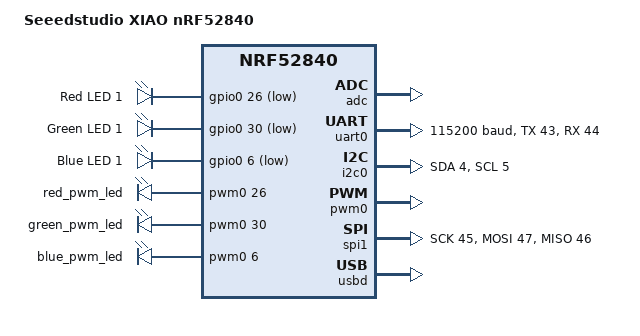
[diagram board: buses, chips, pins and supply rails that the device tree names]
/dts-v1/;
#include <nordic/nrf52840_qiaa.dtsi>

/ {
	model = "Seeedstudio XIAO nRF52840";
	compatible = "nordic,seeeduino-xiao-nrf52840";

	chosen {
		zephyr,sram = &sram0;
		zephyr,flash = &flash0;
		zephyr,code-partition = &slot0_partition;
	};

	leds {
		compatible = "gpio-leds";
		led0_red: led_0 {
			gpios = <&gpio0 26 GPIO_ACTIVE_LOW>;
			label = "Red LED 1";
		};
		led0_green: led_1 {
			gpios = <&gpio0 30 GPIO_ACTIVE_LOW>;
			label = "Green LED 1";
		};
		led0_blue: led_2 {
			gpios = <&gpio0 6 GPIO_ACTIVE_LOW>;
			label = "Blue LED 1";
		};
	};

	pwmleds {
		compatible = "pwm-leds";
		red_pwm_led: pwm_led_0 {
			pwms = <&pwm0 26>;
		};
		green_pwm_led: pwm_led_1 {
			pwms = <&pwm0 30>;
		};
		blue_pwm_led: pwm_led_2 {
			pwms = <&pwm0 6>;
		};
	};

	/* These aliases are provided for compatibility with samples */
	aliases {
		led0 = &led0_red;
		led2 = &led0_green;
		led3 = &led0_blue;
		led0-red   = &led0_red;
		led0-green = &led0_green;
		led0-blue  = &led0_blue;
		pwm-led0 = &red_pwm_led;
		pwm-led1 = &green_pwm_led;
		pwm-led2 = &blue_pwm_led;
		red-pwm-led = &red_pwm_led;
		green-pwm-led = &green_pwm_led;
		blue-pwm-led = &blue_pwm_led;
	};
};

&adc {
	status = "okay";
};

&gpiote {
	status = "okay";
};

&gpio0 {
	status = "okay";
};

&gpio1 {
	status = "okay";
};

&uart0 {
	compatible = "nordic,nrf-uarte";
	status = "okay";
	current-speed = <115200>;
	tx-pin = <43>;
	rx-pin = <44>;
	rx-pull-up;
};

&i2c0 {
	compatible = "nordic,nrf-twi";
	status = "okay";
	sda-pin = <4>;
	scl-pin = <5>;
};

&pwm0 {
	status = "okay";
	ch0-pin = <26>;
	ch0-inverted;
	ch1-pin = <30>;
	ch1-inverted;
	ch2-pin = <6>;
	ch2-inverted;
};

&spi1 {
	compatible = "nordic,nrf-spi";
	status = "okay";
	sck-pin = <45>;
	mosi-pin = <47>;
	miso-pin = <46>;
};


/* Partition table compatible with XIAO BLE bootloader
 * 
 * XIAO BLE bootloader, MBR and a softdevice
 * is located outside of this partition table.
 */

&flash0 {
	partitions {
		compatible = "fixed-partitions";
		#address-cells = <1>;
		#size-cells = <1>;

		slot0_partition: partition@27000 {
			label = "image-0";
			reg = <0x00027000 0x00005e000>;
		};
	};
};

zephyr_udc0: &usbd {
	compatible = "nordic,nrf-usbd";
	status = "okay";
};
